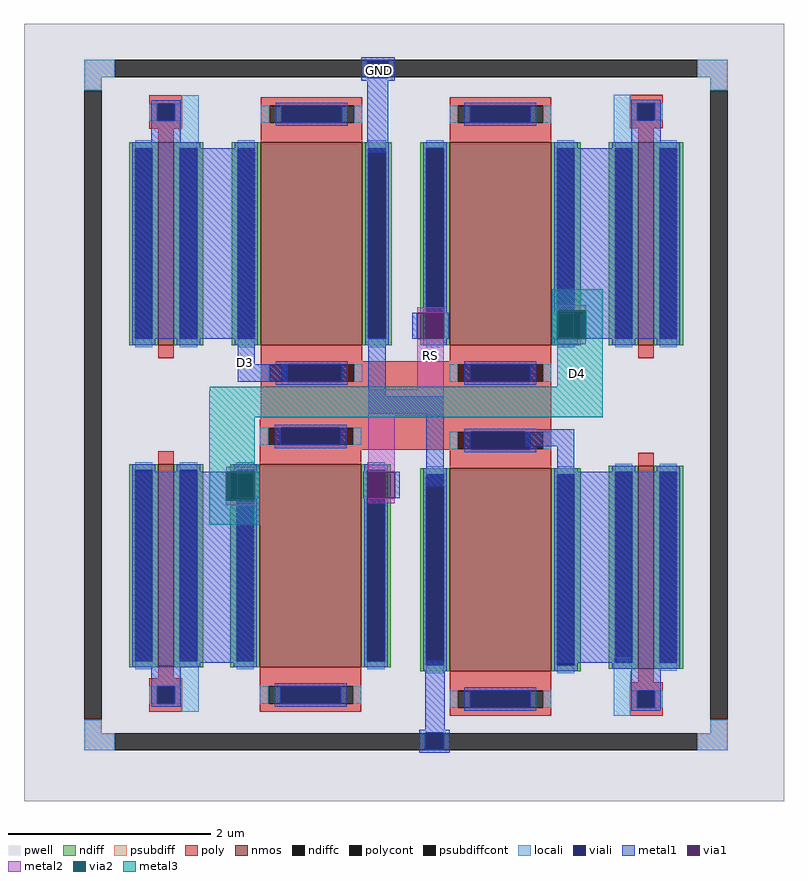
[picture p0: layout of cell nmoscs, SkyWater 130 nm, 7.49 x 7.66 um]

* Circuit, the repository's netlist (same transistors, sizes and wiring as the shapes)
** sch_path: /home/muqtada/opamp/mag/nmoscs/nmoscs.sch
.subckt nmoscs RS D3 D4 GND
*.PININFO RS:B D3:B D4:B GND:B
XM3 D3 D3 GND GND sky130_fd_pr__nfet_01v8 L=1 W=2 nf=1 m=2
XM4 D4 D3 RS GND sky130_fd_pr__nfet_01v8 L=1 W=2 nf=1 m=2
XM1 D3 D3 D3 GND sky130_fd_pr__nfet_01v8 L=0.15 W=2 nf=1 m=2
XM5 D4 D4 D4 GND sky130_fd_pr__nfet_01v8 L=0.15 W=2 nf=1 m=2
.ends
.end

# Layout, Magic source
magic
tech sky130A
magscale 1 2
<< pwell >>
rect -409 -811 1089 721
<< psubdiff >>
rect -290 616 -230 650
rect 918 616 978 650
rect -290 590 -256 616
rect 944 590 978 616
rect -290 -677 -256 -651
rect 944 -677 978 -651
rect -290 -711 -230 -677
rect 918 -711 978 -677
<< psubdiffcont >>
rect -230 616 918 650
rect -290 -651 -256 590
rect 944 -651 978 590
rect -230 -711 918 -677
<< poly >>
rect -162 564 -97 580
rect -162 530 -146 564
rect -112 530 -97 564
rect -162 514 -97 530
rect 785 565 850 581
rect 785 531 800 565
rect 834 531 850 565
rect 785 515 850 531
rect -144 488 -114 514
rect 802 488 832 515
rect 58 -118 630 56
rect -144 -569 -114 -543
rect -162 -585 -97 -569
rect 802 -577 832 -576
rect -162 -619 -146 -585
rect -112 -619 -97 -585
rect -162 -635 -97 -619
rect 785 -593 850 -577
rect 785 -627 800 -593
rect 834 -627 850 -593
rect 785 -643 850 -627
<< polycont >>
rect -146 530 -112 564
rect 800 531 834 565
rect -146 -619 -112 -585
rect 800 -627 834 -593
<< locali >>
rect -290 616 -230 650
rect 918 616 978 650
rect -290 590 -256 616
rect 944 590 978 616
rect -99 564 -65 580
rect -162 530 -146 564
rect -112 530 -65 564
rect -163 488 -156 491
rect -102 488 -65 530
rect 753 565 787 581
rect 753 531 800 565
rect 834 531 850 565
rect 753 488 790 531
rect 844 488 856 492
rect -163 -546 -156 -543
rect -102 -585 -65 -543
rect -162 -619 -146 -585
rect -112 -619 -65 -585
rect -99 -635 -65 -619
rect 753 -593 787 -528
rect 753 -627 800 -593
rect 834 -627 850 -593
rect 753 -643 787 -627
rect -290 -677 -256 -651
rect 944 -677 978 -651
rect -290 -711 -230 -677
rect 918 -711 978 -677
<< viali >>
rect 268 616 310 649
rect 268 615 310 616
rect -146 530 -112 564
rect 800 531 834 565
rect -146 -619 -112 -585
rect 800 -627 834 -593
rect 382 -677 418 -676
rect 382 -710 418 -677
<< metal1 >>
rect 256 649 322 655
rect 256 615 268 649
rect 310 615 322 649
rect 256 609 322 615
rect -158 564 -100 570
rect -158 530 -146 564
rect -112 530 -100 564
rect -158 476 -100 530
rect -190 106 45 476
rect 268 467 309 609
rect 788 565 846 571
rect 788 531 800 565
rect 834 531 846 565
rect 788 476 846 531
rect 642 152 878 476
rect -190 100 46 106
rect 12 50 46 100
rect 12 16 110 50
rect 270 -13 304 101
rect 356 100 366 152
rect 418 100 428 152
rect 632 100 642 152
rect 694 100 878 152
rect 270 -47 418 -13
rect -190 -214 -6 -162
rect 46 -214 56 -162
rect 260 -214 270 -162
rect 322 -214 332 -162
rect 384 -190 418 -47
rect 580 -112 676 -78
rect 642 -162 676 -112
rect -190 -538 46 -214
rect -158 -585 -100 -538
rect -158 -619 -146 -585
rect -112 -619 -100 -585
rect -158 -625 -100 -619
rect 382 -670 420 -534
rect 642 -538 878 -162
rect 788 -593 846 -538
rect 788 -627 800 -593
rect 834 -627 846 -593
rect 788 -633 846 -627
rect 370 -676 430 -670
rect 370 -710 382 -676
rect 418 -710 430 -676
rect 370 -716 430 -710
<< via1 >>
rect 366 100 418 152
rect 642 100 694 152
rect -6 -214 46 -162
rect 270 -214 322 -162
<< metal2 >>
rect 366 152 418 162
rect 366 1 418 100
rect 642 156 698 166
rect 642 90 698 100
rect 270 -51 418 1
rect -10 -162 46 -152
rect -10 -228 46 -218
rect 270 -162 322 -51
rect 270 -224 322 -214
<< via2 >>
rect 642 152 698 156
rect 642 100 694 152
rect 694 100 698 152
rect -10 -214 -6 -162
rect -6 -214 46 -162
rect -10 -218 46 -214
<< metal3 >>
rect 632 156 732 198
rect 632 100 642 156
rect 698 100 732 156
rect 632 88 732 100
rect 642 6 732 88
rect -43 -3 732 6
rect -44 -54 732 -3
rect -44 -150 46 -54
rect -44 -162 56 -150
rect -44 -218 -10 -162
rect 46 -218 56 -162
rect -44 -266 56 -218
use sky130_fd_pr__nfet_01v8_46AAJJ  sky130_fd_pr__nfet_01v8_46AAJJ_0
transform 1 0 530 0 1 288
box -158 -288 158 288
use sky130_fd_pr__nfet_01v8_46AAJJ  sky130_fd_pr__nfet_01v8_46AAJJ_1
transform 1 0 530 0 1 -355
box -158 -288 158 288
use sky130_fd_pr__nfet_01v8_46AAJJ  sky130_fd_pr__nfet_01v8_46AAJJ_2
transform 1 0 158 0 1 288
box -158 -288 158 288
use sky130_fd_pr__nfet_01v8_46AAJJ  sky130_fd_pr__nfet_01v8_46AAJJ_3
transform 1 0 156 0 1 -347
box -158 -288 158 288
use sky130_fd_pr__nfet_01v8_LGC7FM  sky130_fd_pr__nfet_01v8_LGC7FM_0
transform 1 0 817 0 1 288
box -73 -226 73 226
use sky130_fd_pr__nfet_01v8_LGC7FM  sky130_fd_pr__nfet_01v8_LGC7FM_1
transform 1 0 -129 0 1 -347
box -73 -226 73 226
use sky130_fd_pr__nfet_01v8_LGC7FM  sky130_fd_pr__nfet_01v8_LGC7FM_2
transform 1 0 817 0 1 -350
box -73 -226 73 226
use sky130_fd_pr__nfet_01v8_LGC7FM  sky130_fd_pr__nfet_01v8_LGC7FM_3
transform 1 0 -129 0 1 288
box -73 -226 73 226
<< labels >>
flabel metal1 20 46 36 62 0 FreeSans 800 0 0 0 D3
port 0 nsew
flabel viali 292 630 292 630 0 FreeSans 800 0 0 0 GND
port 1 nsew
flabel metal2 392 68 392 68 0 FreeSans 800 0 0 0 RS
port 2 nsew
flabel metal3 682 32 682 32 0 FreeSans 800 0 0 0 D4
port 3 nsew
<< end >>

# cell sky130_fd_pr__nfet_01v8_46AAJJ: kit device sky130_fd_pr__nfet_01v8, w 2 l 1 m 1 nf 1 diffcov 100 polycov 100 guard 0 glc 1 grc 1 gtc 1 gbc 1 tbcov 100 rlcov 100 topc 1 botc 1 poverlap 0 doverlap 1 lmin 0.15 wmin 0.42 compatible {sky130_fd_pr__nfet_01v8 sky130_fd_pr__nfet_01v8_lvt sky130_fd_bs_flash__special_sonosfet_star sky130_fd_pr__nfet_g5v0d10v5 sky130_fd_pr__nfet_05v0_nvt sky130_fd_pr__nfet_03v3_nvt} full_metal 1 viasrc 100 viadrn 100 viagate 70 viagb 0 viagr 0 viagl 0 viagt 0

# cell sky130_fd_pr__nfet_01v8_LGC7FM: kit device sky130_fd_pr__nfet_01v8, w 2 l 0.150 m 1 nf 1 diffcov 100 polycov 100 guard 0 glc 1 grc 1 gtc 1 gbc 1 tbcov 100 rlcov 100 topc 0 botc 0 poverlap 0 doverlap 1 lmin 0.15 wmin 0.42 compatible {sky130_fd_pr__nfet_01v8 sky130_fd_pr__nfet_01v8_lvt sky130_fd_bs_flash__special_sonosfet_star sky130_fd_pr__nfet_g5v0d10v5 sky130_fd_pr__nfet_05v0_nvt sky130_fd_pr__nfet_03v3_nvt} full_metal 1 viasrc 100 viadrn 100 viagate 70 viagb 0 viagr 0 viagl 0 viagt 0
